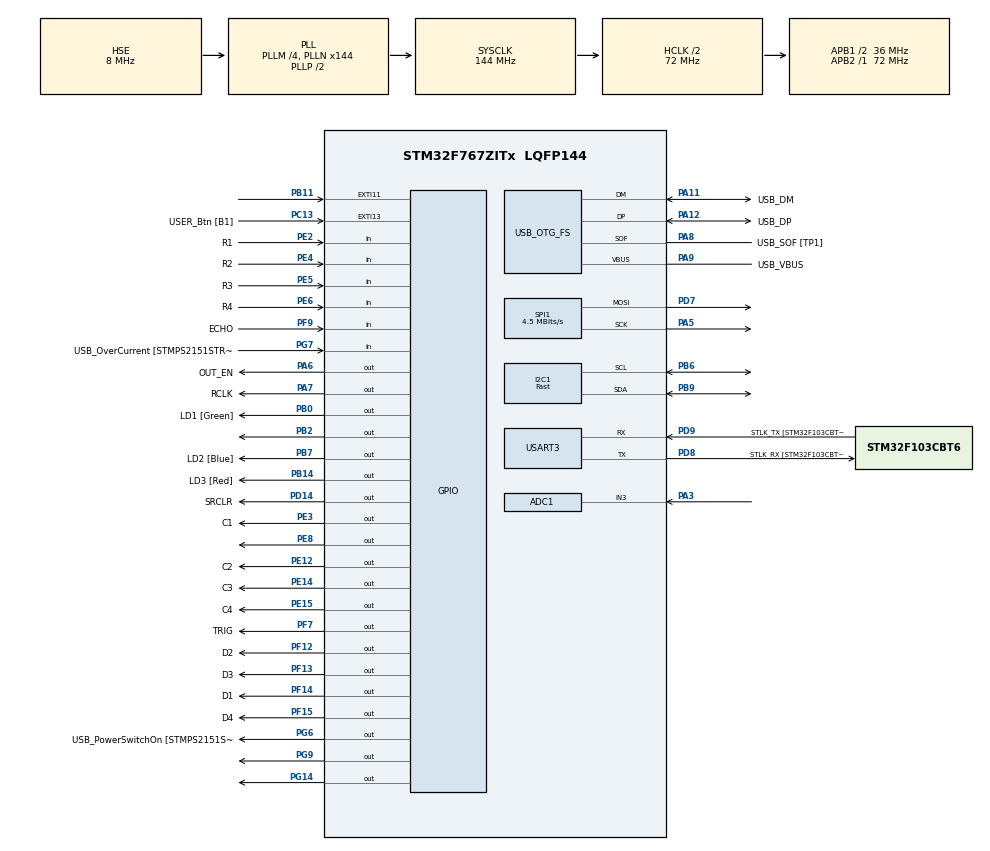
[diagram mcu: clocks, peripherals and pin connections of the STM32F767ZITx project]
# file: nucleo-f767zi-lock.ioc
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ADC1.Channel-1\#ChannelRegularConversion=ADC_CHANNEL_3
ADC1.ContinuousConvMode=ENABLE
ADC1.NbrOfConversionFlag=1
ADC1.Rank-1\#ChannelRegularConversion=1
ADC1.SamplingTime-1\#ChannelRegularConversion=ADC_SAMPLETIME_3CYCLES
ADC1.master=1
I2C1.I2C_Speed_Mode=I2C_Fast
I2C1.Timing=0x00301739
Mcu.Family=STM32F7
Mcu.Name=STM32F767ZITx
Mcu.Package=LQFP144
NVIC.EXTI15_10_IRQn=true\:0\:0\:false\:false\:true\:true\:true\:true
NVIC.PriorityGroup=NVIC_PRIORITYGROUP_4
PA1.GPIO_Label=RMII_REF_CLK [LAN8742A-CZ-TR_REFCLK0]
PA1.Signal=ETH_REF_CLK
PA10.GPIO_Label=USB_ID
PA10.Signal=USB_OTG_FS_ID
PA11.GPIO_Label=USB_DM
PA11.Mode=Device_Only
PA11.Signal=USB_OTG_FS_DM
PA12.GPIO_Label=USB_DP
PA12.Mode=Device_Only
PA12.Signal=USB_OTG_FS_DP
PA13.GPIO_Label=TMS
PA13.Mode=Serial_Wire
PA13.Signal=SYS_JTMS-SWDIO
PA14.GPIO_Label=TCK
PA14.Mode=Serial_Wire
PA14.Signal=SYS_JTCK-SWCLK
PA2.GPIO_Label=RMII_MDIO [LAN8742A-CZ-TR_MDIO]
PA2.Signal=ETH_MDIO
PA3.Signal=ADCx_IN3
PA5.Mode=TX_Only_Simplex_Unidirect_Master
PA5.Signal=SPI1_SCK
PA6.GPIO_Label=OUT_EN
PA6.Signal=GPIO_Output
PA7.GPIO_Label=RCLK
PA7.Signal=GPIO_Output
PA8.GPIO_Label=USB_SOF [TP1]
PA8.Mode=Activate_SOF_FS
PA8.Signal=USB_OTG_FS_SOF
PA9.GPIO_Label=USB_VBUS
PA9.Mode=Activate_VBUS
PA9.Signal=USB_OTG_FS_VBUS
PB0.GPIO_Label=LD1 [Green]
PB0.Signal=GPIO_Output
PB11.GPIO_ModeDefaultEXTI=GPIO_MODE_IT_FALLING
PB11.Signal=GPXTI11
PB13.GPIO_Label=RMII_TXD1 [LAN8742A-CZ-TR_TXD1]
PB13.Signal=ETH_TXD1
PB14.GPIO_Label=LD3 [Red]
PB14.Signal=GPIO_Output
PB2.Signal=GPIO_Output
PB3.GPIO_Label=SWO
PB3.Signal=SYS_JTDO-SWO
PB6.Mode=I2C
PB6.Signal=I2C1_SCL
PB7.GPIO_Label=LD2 [Blue]
PB7.Signal=GPIO_Output
PB9.Mode=I2C
PB9.Signal=I2C1_SDA
PC1.GPIO_Label=RMII_MDC [LAN8742A-CZ-TR_MDC]
PC1.Signal=ETH_MDC
PC13.GPIO_Label=USER_Btn [B1]
PC13.Signal=GPXTI13
PC14/OSC32_IN.Signal=RCC_OSC32_IN
PC15/OSC32_OUT.Signal=RCC_OSC32_OUT
PC5.GPIO_Label=RMII_RXD1 [LAN8742A-CZ-TR_RXD1]
PC5.Signal=ETH_RXD1
PD14.GPIO_Label=SRCLR
PD14.PinState=GPIO_PIN_RESET
PD14.Signal=GPIO_Output
PD7.Mode=TX_Only_Simplex_Unidirect_Master
PD7.Signal=SPI1_MOSI
PD8.GPIO_Label=STLK_RX [STM32F103CBT6_PA3]
PD8.Mode=Asynchronous
PD8.Signal=USART3_TX
PD9.GPIO_Label=STLK_TX [STM32F103CBT6_PA2]
PD9.Mode=Asynchronous
PD9.Signal=USART3_RX
PE12.GPIO_Label=C2
PE12.PinState=GPIO_PIN_SET
PE12.Signal=GPIO_Output
PE14.GPIO_Label=C3
PE14.PinState=GPIO_PIN_SET
PE14.Signal=GPIO_Output
PE15.GPIO_Label=C4
PE15.GPIO_ModeDefaultOutputPP=GPIO_MODE_OUTPUT_PP
PE15.GPIO_PuPd=GPIO_NOPULL
PE15.Signal=GPIO_Output
PE2.GPIO_Label=R1
PE2.GPIO_PuPd=GPIO_PULLDOWN
PE2.Signal=GPIO_Input
PE3.GPIO_Label=C1
PE3.PinState=GPIO_PIN_SET
PE3.Signal=GPIO_Output
PE4.GPIO_Label=R2
PE4.GPIO_PuPd=GPIO_PULLDOWN
PE4.Signal=GPIO_Input
PE5.GPIO_Label=R3
PE5.GPIO_PuPd=GPIO_PULLDOWN
PE5.Signal=GPIO_Input
PE6.GPIO_Label=R4
PE6.GPIO_PuPd=GPIO_PULLDOWN
PE6.Signal=GPIO_Input
PE8.Signal=GPIO_Output
PF12.GPIO_Label=D2
PF12.GPIO_ModeDefaultOutputPP=GPIO_MODE_OUTPUT_OD
PF12.GPIO_PuPd=GPIO_NOPULL
PF12.PinState=GPIO_PIN_SET
PF12.Signal=GPIO_Output
PF13.GPIO_Label=D3
PF13.GPIO_ModeDefaultOutputPP=GPIO_MODE_OUTPUT_OD
PF13.GPIO_PuPd=GPIO_NOPULL
PF13.PinState=GPIO_PIN_SET
PF13.Signal=GPIO_Output
PF14.GPIO_Label=D1
PF14.GPIO_ModeDefaultOutputPP=GPIO_MODE_OUTPUT_OD
PF14.GPIO_PuPd=GPIO_NOPULL
PF14.PinState=GPIO_PIN_SET
PF14.Signal=GPIO_Output
PF15.GPIO_Label=D4
PF15.GPIO_ModeDefaultOutputPP=GPIO_MODE_OUTPUT_OD
PF15.GPIO_PuPd=GPIO_NOPULL
PF15.PinState=GPIO_PIN_SET
PF15.Signal=GPIO_Output
PF7.GPIO_Label=TRIG
PF7.GPIO_PuPd=GPIO_NOPULL
PF7.Signal=GPIO_Output
PF9.GPIO_Label=ECHO
PF9.GPIO_PuPd=GPIO_NOPULL
PF9.Signal=GPIO_Input
PG11.GPIO_Label=RMII_TX_EN [LAN8742A-CZ-TR_TXEN]
PG11.Signal=ETH_TX_EN
PG13.GPIO_Label=RMII_TXD0 [LAN8742A-CZ-TR_TXD0]
PG13.Signal=ETH_TXD0
PG14.Signal=GPIO_Output
PG6.GPIO_Label=USB_PowerSwitchOn [STMPS2151STR_EN]
PG6.Signal=GPIO_Output
PG7.GPIO_Label=USB_OverCurrent [STMPS2151STR_FAULT]
PG7.Signal=GPIO_Input
PG9.Signal=GPIO_Output
PH0/OSC_IN.GPIO_Label=MCO [STM32F103CBT6_PA8]
PH0/OSC_IN.Mode=HSE-External-Oscillator
PH0/OSC_IN.Signal=RCC_OSC_IN
PH1/OSC_OUT.Mode=HSE-External-Oscillator
PH1/OSC_OUT.Signal=RCC_OSC_OUT
ProjectManager.HeapSize=0x200
ProjectManager.StackSize=0x400
ProjectManager.TargetToolchain=STM32CubeIDE
RCC.48MHZClocksFreq_Value=24000000
RCC.AHBCLKDivider=RCC_SYSCLK_DIV2
RCC.AHBFreq_Value=72000000
RCC.APB1CLKDivider=RCC_HCLK_DIV2
RCC.APB1Freq_Value=36000000
RCC.APB1TimFreq_Value=72000000
RCC.APB2Freq_Value=72000000
RCC.APB2TimFreq_Value=72000000
RCC.CortexFreq_Value=72000000
RCC.HCLKFreq_Value=72000000
RCC.HSE_VALUE=8000000
RCC.HSI_VALUE=16000000
RCC.LSE_VALUE=32768
RCC.PLLM=4
RCC.PLLMUL=RCC_PLL_MUL9
RCC.PLLN=144
RCC.PLLQ=6
RCC.PRESCALERUSB=RCC_USBCLKSOURCE_PLL_DIV1_5
RCC.SYSCLKFreq_VALUE=144000000
RCC.SYSCLKSource=RCC_SYSCLKSOURCE_PLLCLK
RCC.SYSCLKSourceVirtual=RCC_SYSCLKSOURCE_PLLCLK
RCC.USBFreq_Value=48000000
RCC.VCOOutputFreq_Value=288000000
SH.ADCx_IN3.0=ADC1_IN3,IN3
SPI1.BaudRatePrescaler=SPI_BAUDRATEPRESCALER_16
SPI1.CalculateBaudRate=4.5 MBits/s
SPI1.DataSize=SPI_DATASIZE_8BIT
SPI1.Direction=SPI_DIRECTION_2LINES
SPI1.FirstBit=SPI_FIRSTBIT_MSB
SPI1.Mode=SPI_MODE_MASTER
SPI1.VirtualType=VM_MASTER
TIM1.Prescaler=71
USART3.VirtualMode-Asynchronous=VM_ASYNC
USB_OTG_FS.VirtualMode=Device_Only
VP_TIM1_VS_ClockSourceINT.Mode=Internal
board=NUCLEO-F767ZI

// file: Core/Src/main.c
/* USER CODE BEGIN Header */
/**
  ******************************************************************************
  * @file           : main.c
  * @brief          : Main program body
  ******************************************************************************
  * @attention
  *
  * Copyright (c) 2022 STMicroelectronics.
  * All rights reserved.
  *
  * This software is licensed under terms that can be found in the LICENSE file
  * in the root directory of this software component.
  * If no LICENSE file comes with this software, it is provided AS-IS.
  *
  ******************************************************************************
  */
/* USER CODE END Header */
#include "main.h"

/* USER CODE BEGIN Includes */
#include "math.h"
/* USER CODE END Includes */

ADC_HandleTypeDef hadc1;

I2C_HandleTypeDef hi2c1;

SPI_HandleTypeDef hspi1;

TIM_HandleTypeDef htim1;

UART_HandleTypeDef huart3;

PCD_HandleTypeDef hpcd_USB_OTG_FS;

/* USER CODE BEGIN PV */
uint32_t pMillis;
uint32_t Value1 = 0;
uint32_t Value2 = 0;
uint16_t Distance  = 0;
/* USER CODE END PV */

void SystemClock_Config(void);
static void MX_GPIO_Init(void);
static void MX_USART3_UART_Init(void);
static void MX_USB_OTG_FS_PCD_Init(void);
static void MX_SPI1_Init(void);
static void MX_ADC1_Init(void);
static void MX_I2C1_Init(void);
static void MX_TIM1_Init(void);

/* USER CODE BEGIN 0 */
	typedef enum
	{
		Idle_State,
		Key_Press_State,
		Check_Password_State,
		Incorrect_Password_State,
		Correct_Password_State,
		Sound_Alarm_State
	} eSystemState;

	//uint8_t SPIdata[] = {0xf6,0x12,0xea,0xba,0x1e,0xbc,0xfc,0x92,0xfe,0xbe};
	//depends on 74hc595 connection
	// Q7 =B, Q6 = A, Q5 = G, Q4 = C, Q3 = DP, Q2 = D, Q1 = E, Q0 = F
	uint8_t SPIdata[] ={0xd7,	// 0 = a,b,c,d,e,f		1101 0111
						0x90,	// 1 = b,c				1001 0000
						0xe6,	// 2 = a,b,d,e,g		1110 0110
						0xf4,	// 3 = a,b,c,d,g		1111 0100
						0xb1,	// 4 = b,c,f,g			1011 0001
						0x75,	// 5 = a,c,d,f,g		0111 0101
						0x77,	// 6 = a,c,d,e,f,g		0111 0111
						0xd0,	// 7 = a,b,c			1101 0000
						0xf7,	// 8 = a,b,c,d,e,f,g	1111 0111
						0xf1};	// 9 = a,b,c,f,g		1111 0001
	uint8_t letters[] = {0xf3, // a 0
						0x37, // b 1
						0x47, // c 2
						0xb6, // d 3
						0x97, // u 4
						0x67, // e
						0x63, // f
						0x57, // g
						0xb3, // h
						0x03, // i
						0x94, // j
						0x07, // l
						0xd3, // n
						0xd7, // o
						0xe3, // p
						0xf1, // q
						0x43, // r
						0x55, // s

						0x16, // v
						0xb5, // y
						0xc6, // z

	};
	int password = 1234;
	int numPress = 0;
	int buffer = 0;

	int armed = 0; // if 0 false. true = 1

	void sendSPIdata(uint8_t data[], uint8_t byteSize)
	{
		//clear the buffer
		HAL_GPIO_WritePin(GPIOD, GPIO_PIN_14, GPIO_PIN_RESET); //MASTER RECLEAR, ACTIVE LOW - PIN 10

		//Disable the Outputs
		HAL_GPIO_WritePin(GPIOA , GPIO_PIN_6, GPIO_PIN_SET);		//OUT_EN, ACTIVE LOW - PIN 13

		//Open the Buffer for Transmission
		HAL_GPIO_WritePin(GPIOD, GPIO_PIN_14, GPIO_PIN_SET); //MASTER RECLEAR, ACTIVE LOW - PIN 10

		//transmit data
		HAL_SPI_Transmit(&hspi1, &data[0], byteSize, 10); //byteSize = 1

		//Trigger Registers
		HAL_GPIO_WritePin(GPIOA, GPIO_PIN_7, GPIO_PIN_SET); //register clk - pin 11
		//HAL_Delay(10);
		HAL_GPIO_WritePin(GPIOA, GPIO_PIN_7, GPIO_PIN_RESET);

		//Enable the Outputs
		HAL_GPIO_WritePin(GPIOA , GPIO_PIN_6 , GPIO_PIN_RESET); //OUT_EN, ACTIVE LOW - PIN 13
	}
	int displayDigit(int num){
		uint16_t cathode[4] = {0x8000,0x2000,0x1000,0x4000}; // (Pin 15)(Pin 13)(Pin 12)(Pin 14)
		int d[4];			// array that will sort one digit in each index
		int count =0;		// how many digits num contains

		if(num == 0){
			d[count] = 0;
			count = 1;
		}
		//it will sort one digit in each index
		else{
			while(num != 0){
				d[count] = num%10;
				count++;
				num=num/10;
			}
		}

		// display up to four digits on the 4-digit 7-seg display
		for(int i = 0; i < count; i++){
			HAL_GPIO_WritePin(GPIOF, cathode[i], GPIO_PIN_RESET); 	// resets one cathode to GND
			sendSPIdata(&SPIdata[d[i]], 1);							// send data to the register
			HAL_Delay(4);											// it shows that number for 4 ms
			HAL_GPIO_WritePin(GPIOF, cathode[i], GPIO_PIN_SET);		// sets the cathode
		}
		return count;
	}
	int displayLetters(int num){
			uint16_t cathode[4] = {0x8000,0x2000,0x1000,0x4000}; // (Pin 15)(Pin 13)(Pin 12)(Pin 14)
			int d[4];			// array that will sort one digit in each index
			int count =0;		// how many digits num contains

			if(num == 0){
				d[count] = 0;
				count = 1;
			}
			//it will sort one digit in each index
			else{
				while(num != 0){
					d[count] = num%10;
					count++;
					num=num/10;
				}
			}

			// display up to four digits on the 4-digit 7-seg display
			for(int i = 0; i < count; i++){
				HAL_GPIO_WritePin(GPIOF, cathode[i], GPIO_PIN_RESET); 	// resets one cathode to GND
				sendSPIdata(&letters[d[i]], 1);							// send data to the register
				HAL_Delay(4);											// it shows that number for 4 ms
				HAL_GPIO_WritePin(GPIOF, cathode[i], GPIO_PIN_SET);		// sets the cathode
			}
			return count;
		}
	void displayPassword(int num, int press){
		uint16_t cathode[4] = {0x8000,0x2000,0x1000,0x4000};
		int count = displayDigit(num);				// count = 3

		for(int i = 0; i < press; i++){
			if(count - 1 < i){
				HAL_GPIO_WritePin(GPIOF, cathode[i], GPIO_PIN_RESET);
				sendSPIdata(&SPIdata[0], 1);
				HAL_Delay(4);
				HAL_GPIO_WritePin(GPIOF, cathode[i], GPIO_PIN_SET);
			}
		}

	}
	int checkColumn(uint16_t pinVar){
			int num;
			HAL_GPIO_WritePin(GPIOE, C1_Pin|C2_Pin|C3_Pin|C4_Pin, GPIO_PIN_RESET);

			HAL_GPIO_WritePin(GPIOE,C1_Pin,GPIO_PIN_SET);
			if(HAL_GPIO_ReadPin(GPIOE,pinVar) == 1)
				num = 1;

			HAL_GPIO_WritePin(GPIOE,C1_Pin,GPIO_PIN_RESET);
			HAL_GPIO_WritePin(GPIOE,C2_Pin,GPIO_PIN_SET);
			if(HAL_GPIO_ReadPin(GPIOE,pinVar) == 1)
				num = 2;

			HAL_GPIO_WritePin(GPIOE,C2_Pin,GPIO_PIN_RESET);
			HAL_GPIO_WritePin(GPIOE,C3_Pin,GPIO_PIN_SET);
			if(HAL_GPIO_ReadPin(GPIOE,pinVar) == 1)
				num = 3;

			HAL_GPIO_WritePin(GPIOE,C3_Pin,GPIO_PIN_RESET);
			HAL_GPIO_WritePin(GPIOE,C4_Pin,GPIO_PIN_SET);
			if(HAL_GPIO_ReadPin(GPIOE,pinVar) == 1)
				num = 4;
			HAL_GPIO_WritePin(GPIOE, C1_Pin|C2_Pin|C3_Pin|C4_Pin, GPIO_PIN_SET);
			return num;
		}
	int keyPress(void){
		int columnVar;
		int keyArr[] = {1,2,3,11,4,5,6,12,7,8,9,13,16,0,15,14}; //0-9 = 0-9, A-D = 11-14, #-* = 15-16

		if(HAL_GPIO_ReadPin(GPIOE, GPIO_PIN_2) == 1){		// row 1
			columnVar = checkColumn(GPIO_PIN_2);
			return keyArr[columnVar - 1];
		}
		else if(HAL_GPIO_ReadPin(GPIOE, R2_Pin) == 1){		// row 2
			columnVar = checkColumn(R2_Pin);
			return keyArr[columnVar +3];
		}
		else if(HAL_GPIO_ReadPin(GPIOE, R3_Pin) == 1){		// row 3
			columnVar = checkColumn(R3_Pin);
			return keyArr[columnVar +7];
		}
		else if(HAL_GPIO_ReadPin(GPIOE, R4_Pin) == 1){		// row 4
			columnVar = checkColumn(R4_Pin);
			return keyArr[columnVar +11];
		}
		return -1;
	}

	uint16_t getDistance(){
		HAL_TIM_Base_Start(&htim1);
		HAL_GPIO_WritePin(GPIOF, GPIO_PIN_7, GPIO_PIN_RESET);
		HAL_GPIO_WritePin(GPIOF, GPIO_PIN_7, GPIO_PIN_SET);  // pull the TRIG pin HIGH
			  	     __HAL_TIM_SET_COUNTER(&htim1, 0);
			  	     while (__HAL_TIM_GET_COUNTER (&htim1) < 10);  // wait for 10 us
			  	     HAL_GPIO_WritePin(GPIOF, GPIO_PIN_7, GPIO_PIN_RESET);  // pull the TRIG pin low

			  	     pMillis = HAL_GetTick(); // used this to avoid infinite while loop  (for timeout)
			  	     // wait for the echo pin to go high
			  	     while (!(HAL_GPIO_ReadPin (GPIOF, GPIO_PIN_9)) && pMillis + 10 >  HAL_GetTick());
			  	     Value1 = __HAL_TIM_GET_COUNTER (&htim1);

			  	     pMillis = HAL_GetTick(); // used this to avoid infinite while loop (for timeout)
			  	     // wait for the echo pin to go low
			  	     while ((HAL_GPIO_ReadPin (GPIOF, GPIO_PIN_9)) && pMillis + 50 > HAL_GetTick());
			  	     Value2 = __HAL_TIM_GET_COUNTER (&htim1);

			  	     Distance = (Value2-Value1)* 0.034/2;
			  	     return Distance;
	}
/*Prototype Event Handlers*/
	eSystemState IdleStateHandler(void){
		if(armed == 1){
			HAL_GPIO_WritePin(GPIOG, GPIO_PIN_14, 1);
		}
		else{
			HAL_GPIO_WritePin(GPIOG, GPIO_PIN_14, 0);
		}
		if(numPress > 0)
			displayPassword(buffer,numPress);
		//HAL_GPIO_WritePin(GPIOE, GPIO_PIN_8, 1);
		// displayLetters(3422);
		if(keyPress() != -1)
			return Key_Press_State;
			//return Idle_State;
		if(armed == 1){
			if(getDistance() < 30){
				return Sound_Alarm_State;
			}
		}
		//return Key_Press_State;
		return Idle_State;
	}
	eSystemState KeyPressHandler(void){ 		// 0-9 = 0-9, A-D = 11-14, #-* = 15-16
		int num = keyPress();
		switch (num){

		case 11:								// 11 = A, This is enter
			HAL_Delay(500);
			return Check_Password_State;

		case 12:								// 12 = B, This is backspace
				if(numPress > 0){
					buffer = buffer / 10;
					numPress--;
				}
				HAL_Delay(500);
				return Idle_State;

		case 13:								// 13 = C, This is clear
			buffer = 0;
			numPress = 0;
			HAL_Delay(500);
			return Idle_State;

		default:								// 0 - 9 was pressed
			if(numPress < 4 && num < 10){
				buffer = buffer * 10 + num;
				numPress++;
			}
			HAL_Delay(500);
			return Idle_State;
		}
	}
	eSystemState CheckPasswordHandler(void){
		if(buffer == password)
			return Correct_Password_State;
		return Incorrect_Password_State;
	}
	eSystemState IncorrectPasswordHandler(void){
		buffer = 0;
		numPress = 0;
		//TODO
		/*
		 HAl
		 * DELAY .5 SEC
		 * TURN OFF RED LED
		 *
		 * TURN ON RED LED
		 * DELAY .5 SEC
		 * TURN OFF RED LED
		 *
		 * TURN ON RED LED
		 * DELAY .5 SEC
		 * TURN OFF RED LED
		 *
		 */
		HAL_GPIO_WritePin(GPIOG, GPIO_PIN_9, 1);
		HAL_Delay(500);
		HAL_GPIO_WritePin(GPIOG, GPIO_PIN_9, 0);

		return Idle_State;
	}
	eSystemState CorrectPasswordHandler(void){
		buffer = 0;
		numPress = 0;
		HAL_GPIO_WritePin(GPIOE, GPIO_PIN_8, 0);
		if(armed == 1)
			armed = 0;
		else
			armed = 1;
		return Idle_State;
	}
	eSystemState SoundAlarmHandler(void){
		HAL_GPIO_WritePin(GPIOE, GPIO_PIN_8, 1);
		return Idle_State;
	}

/* USER CODE END 0 */

int main(void)
{

  /* MCU Configuration--------------------------------------------------------*/

  /* Reset of all peripherals, Initializes the Flash interface and the Systick. */
  HAL_Init();

  /* Configure the system clock */
  SystemClock_Config();

  /* Initialize all configured peripherals */
  MX_GPIO_Init();
  MX_USART3_UART_Init();
  MX_USB_OTG_FS_PCD_Init();
  MX_SPI1_Init();
  MX_ADC1_Init();
  MX_I2C1_Init();
  MX_TIM1_Init();
  /* USER CODE BEGIN 2 */
  eSystemState eNextState = Idle_State;
  // sendSPIdata(&SPIdata[8], 1);

  /*
	  switch(eNextState){
	  case Idle_State:
		  eNextState = IdleStateHandler();
		  break;
	  case Key_Press_State:
		  eNextState = KeyPressHandler();
		  break;
	  case Check_Password_State:
		  eNextState = CheckPasswordHandler();
		  break;
	  case Incorrect_Password_State:
		  eNextState = IncorrectPasswordHandler();
		  break;
	  case Correct_Password_State:
		  eNextState = CorrectPasswordHandler();
		  break;
	  }
	  displayDigit(getDistance());

   */
  	HAL_TIM_Base_Start(&htim1);
  	while(HAL_GetTick() < 4000){
  		displayLetters(3422);
  	}
    //HAL_GPIO_WritePin(GPIOF, GPIO_PIN_7, GPIO_PIN_RESET);

  /* USER CODE END 2 */

  /* Infinite loop */
  while (1)
  {
	  switch(eNextState){
	  	  case Idle_State:
	  		  eNextState = IdleStateHandler();
	  		  break;
	  	  case Key_Press_State:
	  		  eNextState = KeyPressHandler();
	  		  break;
	  	  case Check_Password_State:
	  		  eNextState = CheckPasswordHandler();
	  		  break;
	  	  case Incorrect_Password_State:
	  		  eNextState = IncorrectPasswordHandler();
	  		  break;
	  	  case Correct_Password_State:
	  		  eNextState = CorrectPasswordHandler();
	  		  break;
	  	  case Sound_Alarm_State:
	  		  eNextState = SoundAlarmHandler();
	  		  break;
	  	  }
  }
}

void SystemClock_Config(void)
{
  RCC_OscInitTypeDef RCC_OscInitStruct = {0};
  RCC_ClkInitTypeDef RCC_ClkInitStruct = {0};

  /** Configure the main internal regulator output voltage
  */
  __HAL_RCC_PWR_CLK_ENABLE();
  __HAL_PWR_VOLTAGESCALING_CONFIG(PWR_REGULATOR_VOLTAGE_SCALE3);

  /** Initializes the RCC Oscillators according to the specified parameters
  * in the RCC_OscInitTypeDef structure.
  */
  RCC_OscInitStruct.OscillatorType = RCC_OSCILLATORTYPE_HSE;
  RCC_OscInitStruct.HSEState = RCC_HSE_ON;
  RCC_OscInitStruct.PLL.PLLState = RCC_PLL_ON;
  RCC_OscInitStruct.PLL.PLLSource = RCC_PLLSOURCE_HSE;
  RCC_OscInitStruct.PLL.PLLM = 4;
  RCC_OscInitStruct.PLL.PLLN = 144;
  RCC_OscInitStruct.PLL.PLLP = RCC_PLLP_DIV2;
  RCC_OscInitStruct.PLL.PLLQ = 6;
  RCC_OscInitStruct.PLL.PLLR = 2;
  if (HAL_RCC_OscConfig(&RCC_OscInitStruct) != HAL_OK)
  {
    Error_Handler();
  }

  /** Initializes the CPU, AHB and APB buses clocks
  */
  RCC_ClkInitStruct.ClockType = RCC_CLOCKTYPE_HCLK|RCC_CLOCKTYPE_SYSCLK
                              |RCC_CLOCKTYPE_PCLK1|RCC_CLOCKTYPE_PCLK2;
  RCC_ClkInitStruct.SYSCLKSource = RCC_SYSCLKSOURCE_PLLCLK;
  RCC_ClkInitStruct.AHBCLKDivider = RCC_SYSCLK_DIV2;
  RCC_ClkInitStruct.APB1CLKDivider = RCC_HCLK_DIV2;
  RCC_ClkInitStruct.APB2CLKDivider = RCC_HCLK_DIV1;

  if (HAL_RCC_ClockConfig(&RCC_ClkInitStruct, FLASH_LATENCY_2) != HAL_OK)
  {
    Error_Handler();
  }
}

static void MX_ADC1_Init(void)
{

  ADC_ChannelConfTypeDef sConfig = {0};

  /** Configure the global features of the ADC (Clock, Resolution, Data Alignment and number of conversion)
  */
  hadc1.Instance = ADC1;
  hadc1.Init.ClockPrescaler = ADC_CLOCK_SYNC_PCLK_DIV2;
  hadc1.Init.Resolution = ADC_RESOLUTION_12B;
  hadc1.Init.ScanConvMode = ADC_SCAN_DISABLE;
  hadc1.Init.ContinuousConvMode = ENABLE;
  hadc1.Init.DiscontinuousConvMode = DISABLE;
  hadc1.Init.ExternalTrigConvEdge = ADC_EXTERNALTRIGCONVEDGE_NONE;
  hadc1.Init.ExternalTrigConv = ADC_SOFTWARE_START;
  hadc1.Init.DataAlign = ADC_DATAALIGN_RIGHT;
  hadc1.Init.NbrOfConversion = 1;
  hadc1.Init.DMAContinuousRequests = DISABLE;
  hadc1.Init.EOCSelection = ADC_EOC_SINGLE_CONV;
  if (HAL_ADC_Init(&hadc1) != HAL_OK)
  {
    Error_Handler();
  }

  /** Configure for the selected ADC regular channel its corresponding rank in the sequencer and its sample time.
  */
  sConfig.Channel = ADC_CHANNEL_3;
  sConfig.Rank = ADC_REGULAR_RANK_1;
  sConfig.SamplingTime = ADC_SAMPLETIME_3CYCLES;
  if (HAL_ADC_ConfigChannel(&hadc1, &sConfig) != HAL_OK)
  {
    Error_Handler();
  }

}

static void MX_I2C1_Init(void)
{

  hi2c1.Instance = I2C1;
  hi2c1.Init.Timing = 0x00301739;
  hi2c1.Init.OwnAddress1 = 0;
  hi2c1.Init.AddressingMode = I2C_ADDRESSINGMODE_7BIT;
  hi2c1.Init.DualAddressMode = I2C_DUALADDRESS_DISABLE;
  hi2c1.Init.OwnAddress2 = 0;
  hi2c1.Init.OwnAddress2Masks = I2C_OA2_NOMASK;
  hi2c1.Init.GeneralCallMode = I2C_GENERALCALL_DISABLE;
  hi2c1.Init.NoStretchMode = I2C_NOSTRETCH_DISABLE;
  if (HAL_I2C_Init(&hi2c1) != HAL_OK)
  {
    Error_Handler();
  }

  /** Configure Analogue filter
  */
  if (HAL_I2CEx_ConfigAnalogFilter(&hi2c1, I2C_ANALOGFILTER_ENABLE) != HAL_OK)
  {
    Error_Handler();
  }

  /** Configure Digital filter
  */
  if (HAL_I2CEx_ConfigDigitalFilter(&hi2c1, 0) != HAL_OK)
  {
    Error_Handler();
  }

}

static void MX_SPI1_Init(void)
{

  /* SPI1 parameter configuration*/
  hspi1.Instance = SPI1;
  hspi1.Init.Mode = SPI_MODE_MASTER;
  hspi1.Init.Direction = SPI_DIRECTION_2LINES;
  hspi1.Init.DataSize = SPI_DATASIZE_8BIT;
  hspi1.Init.CLKPolarity = SPI_POLARITY_LOW;
  hspi1.Init.CLKPhase = SPI_PHASE_1EDGE;
  hspi1.Init.NSS = SPI_NSS_SOFT;
  hspi1.Init.BaudRatePrescaler = SPI_BAUDRATEPRESCALER_16;
  hspi1.Init.FirstBit = SPI_FIRSTBIT_MSB;
  hspi1.Init.TIMode = SPI_TIMODE_DISABLE;
  hspi1.Init.CRCCalculation = SPI_CRCCALCULATION_DISABLE;
  hspi1.Init.CRCPolynomial = 7;
  hspi1.Init.CRCLength = SPI_CRC_LENGTH_DATASIZE;
  hspi1.Init.NSSPMode = SPI_NSS_PULSE_ENABLE;
  if (HAL_SPI_Init(&hspi1) != HAL_OK)
  {
    Error_Handler();
  }

}

static void MX_TIM1_Init(void)
{

  TIM_ClockConfigTypeDef sClockSourceConfig = {0};
  TIM_MasterConfigTypeDef sMasterConfig = {0};

  htim1.Instance = TIM1;
  htim1.Init.Prescaler = 71;
  htim1.Init.CounterMode = TIM_COUNTERMODE_UP;
  htim1.Init.Period = 65535;
  htim1.Init.ClockDivision = TIM_CLOCKDIVISION_DIV1;
  htim1.Init.RepetitionCounter = 0;
  htim1.Init.AutoReloadPreload = TIM_AUTORELOAD_PRELOAD_DISABLE;
  if (HAL_TIM_Base_Init(&htim1) != HAL_OK)
  {
    Error_Handler();
  }
  sClockSourceConfig.ClockSource = TIM_CLOCKSOURCE_INTERNAL;
  if (HAL_TIM_ConfigClockSource(&htim1, &sClockSourceConfig) != HAL_OK)
  {
    Error_Handler();
  }
  sMasterConfig.MasterOutputTrigger = TIM_TRGO_RESET;
  sMasterConfig.MasterOutputTrigger2 = TIM_TRGO2_RESET;
  sMasterConfig.MasterSlaveMode = TIM_MASTERSLAVEMODE_DISABLE;
  if (HAL_TIMEx_MasterConfigSynchronization(&htim1, &sMasterConfig) != HAL_OK)
  {
    Error_Handler();
  }

}

static void MX_USART3_UART_Init(void)
{

  huart3.Instance = USART3;
  huart3.Init.BaudRate = 115200;
  huart3.Init.WordLength = UART_WORDLENGTH_8B;
  huart3.Init.StopBits = UART_STOPBITS_1;
  huart3.Init.Parity = UART_PARITY_NONE;
  huart3.Init.Mode = UART_MODE_TX_RX;
  huart3.Init.HwFlowCtl = UART_HWCONTROL_NONE;
  huart3.Init.OverSampling = UART_OVERSAMPLING_16;
  huart3.Init.OneBitSampling = UART_ONE_BIT_SAMPLE_DISABLE;
  huart3.AdvancedInit.AdvFeatureInit = UART_ADVFEATURE_NO_INIT;
  if (HAL_UART_Init(&huart3) != HAL_OK)
  {
    Error_Handler();
  }

}

static void MX_USB_OTG_FS_PCD_Init(void)
{

  hpcd_USB_OTG_FS.Instance = USB_OTG_FS;
  hpcd_USB_OTG_FS.Init.dev_endpoints = 6;
  hpcd_USB_OTG_FS.Init.speed = PCD_SPEED_FULL;
  hpcd_USB_OTG_FS.Init.dma_enable = DISABLE;
  hpcd_USB_OTG_FS.Init.phy_itface = PCD_PHY_EMBEDDED;
  hpcd_USB_OTG_FS.Init.Sof_enable = ENABLE;
  hpcd_USB_OTG_FS.Init.low_power_enable = DISABLE;
  hpcd_USB_OTG_FS.Init.lpm_enable = DISABLE;
  hpcd_USB_OTG_FS.Init.vbus_sensing_enable = ENABLE;
  hpcd_USB_OTG_FS.Init.use_dedicated_ep1 = DISABLE;
  if (HAL_PCD_Init(&hpcd_USB_OTG_FS) != HAL_OK)
  {
    Error_Handler();
  }

}

static void MX_GPIO_Init(void)
{
  GPIO_InitTypeDef GPIO_InitStruct = {0};

  /* GPIO Ports Clock Enable */
  __HAL_RCC_GPIOE_CLK_ENABLE();
  __HAL_RCC_GPIOC_CLK_ENABLE();
  __HAL_RCC_GPIOF_CLK_ENABLE();
  __HAL_RCC_GPIOH_CLK_ENABLE();
  __HAL_RCC_GPIOA_CLK_ENABLE();
  __HAL_RCC_GPIOB_CLK_ENABLE();
  __HAL_RCC_GPIOD_CLK_ENABLE();
  __HAL_RCC_GPIOG_CLK_ENABLE();

  /*Configure GPIO pin Output Level */
  HAL_GPIO_WritePin(GPIOE, C1_Pin|C2_Pin|C3_Pin, GPIO_PIN_SET);

  /*Configure GPIO pin Output Level */
  HAL_GPIO_WritePin(TRIG_GPIO_Port, TRIG_Pin, GPIO_PIN_RESET);

  /*Configure GPIO pin Output Level */
  HAL_GPIO_WritePin(GPIOA, OUT_EN_Pin|RCLK_Pin, GPIO_PIN_RESET);

  /*Configure GPIO pin Output Level */
  HAL_GPIO_WritePin(GPIOB, LD1_Pin|GPIO_PIN_2|LD3_Pin|LD2_Pin, GPIO_PIN_RESET);

  /*Configure GPIO pin Output Level */
  HAL_GPIO_WritePin(GPIOF, D2_Pin|D3_Pin|D1_Pin|D4_Pin, GPIO_PIN_SET);

  /*Configure GPIO pin Output Level */
  HAL_GPIO_WritePin(GPIOE, GPIO_PIN_8|C4_Pin, GPIO_PIN_RESET);

  /*Configure GPIO pin Output Level */
  HAL_GPIO_WritePin(SRCLR_GPIO_Port, SRCLR_Pin, GPIO_PIN_RESET);

  /*Configure GPIO pin Output Level */
  HAL_GPIO_WritePin(GPIOG, USB_PowerSwitchOn_Pin|GPIO_PIN_9|GPIO_PIN_14, GPIO_PIN_RESET);

  /*Configure GPIO pins : R1_Pin R2_Pin R3_Pin R4_Pin */
  GPIO_InitStruct.Pin = R1_Pin|R2_Pin|R3_Pin|R4_Pin;
  GPIO_InitStruct.Mode = GPIO_MODE_INPUT;
  GPIO_InitStruct.Pull = GPIO_PULLDOWN;
  HAL_GPIO_Init(GPIOE, &GPIO_InitStruct);

  /*Configure GPIO pins : C1_Pin PE8 C2_Pin C3_Pin
                           C4_Pin */
  GPIO_InitStruct.Pin = C1_Pin|GPIO_PIN_8|C2_Pin|C3_Pin
                          |C4_Pin;
  GPIO_InitStruct.Mode = GPIO_MODE_OUTPUT_PP;
  GPIO_InitStruct.Pull = GPIO_NOPULL;
  GPIO_InitStruct.Speed = GPIO_SPEED_FREQ_LOW;
  HAL_GPIO_Init(GPIOE, &GPIO_InitStruct);

  /*Configure GPIO pin : USER_Btn_Pin */
  GPIO_InitStruct.Pin = USER_Btn_Pin;
  GPIO_InitStruct.Mode = GPIO_MODE_IT_RISING;
  GPIO_InitStruct.Pull = GPIO_NOPULL;
  HAL_GPIO_Init(USER_Btn_GPIO_Port, &GPIO_InitStruct);

  /*Configure GPIO pin : TRIG_Pin */
  GPIO_InitStruct.Pin = TRIG_Pin;
  GPIO_InitStruct.Mode = GPIO_MODE_OUTPUT_PP;
  GPIO_InitStruct.Pull = GPIO_NOPULL;
  GPIO_InitStruct.Speed = GPIO_SPEED_FREQ_LOW;
  HAL_GPIO_Init(TRIG_GPIO_Port, &GPIO_InitStruct);

  /*Configure GPIO pin : ECHO_Pin */
  GPIO_InitStruct.Pin = ECHO_Pin;
  GPIO_InitStruct.Mode = GPIO_MODE_INPUT;
  GPIO_InitStruct.Pull = GPIO_NOPULL;
  HAL_GPIO_Init(ECHO_GPIO_Port, &GPIO_InitStruct);

  /*Configure GPIO pins : RMII_MDC_Pin RMII_RXD1_Pin */
  GPIO_InitStruct.Pin = RMII_MDC_Pin|RMII_RXD1_Pin;
  GPIO_InitStruct.Mode = GPIO_MODE_AF_PP;
  GPIO_InitStruct.Pull = GPIO_NOPULL;
  GPIO_InitStruct.Speed = GPIO_SPEED_FREQ_VERY_HIGH;
  GPIO_InitStruct.Alternate = GPIO_AF11_ETH;
  HAL_GPIO_Init(GPIOC, &GPIO_InitStruct);

  /*Configure GPIO pins : RMII_REF_CLK_Pin RMII_MDIO_Pin */
  GPIO_InitStruct.Pin = RMII_REF_CLK_Pin|RMII_MDIO_Pin;
  GPIO_InitStruct.Mode = GPIO_MODE_AF_PP;
  GPIO_InitStruct.Pull = GPIO_NOPULL;
  GPIO_InitStruct.Speed = GPIO_SPEED_FREQ_VERY_HIGH;
  GPIO_InitStruct.Alternate = GPIO_AF11_ETH;
  HAL_GPIO_Init(GPIOA, &GPIO_InitStruct);

  /*Configure GPIO pins : OUT_EN_Pin RCLK_Pin */
  GPIO_InitStruct.Pin = OUT_EN_Pin|RCLK_Pin;
  GPIO_InitStruct.Mode = GPIO_MODE_OUTPUT_PP;
  GPIO_InitStruct.Pull = GPIO_NOPULL;
  GPIO_InitStruct.Speed = GPIO_SPEED_FREQ_LOW;
  HAL_GPIO_Init(GPIOA, &GPIO_InitStruct);

  /*Configure GPIO pins : LD1_Pin PB2 LD3_Pin LD2_Pin */
  GPIO_InitStruct.Pin = LD1_Pin|GPIO_PIN_2|LD3_Pin|LD2_Pin;
  GPIO_InitStruct.Mode = GPIO_MODE_OUTPUT_PP;
  GPIO_InitStruct.Pull = GPIO_NOPULL;
  GPIO_InitStruct.Speed = GPIO_SPEED_FREQ_LOW;
  HAL_GPIO_Init(GPIOB, &GPIO_InitStruct);

  /*Configure GPIO pins : D2_Pin D3_Pin D1_Pin D4_Pin */
  GPIO_InitStruct.Pin = D2_Pin|D3_Pin|D1_Pin|D4_Pin;
  GPIO_InitStruct.Mode = GPIO_MODE_OUTPUT_OD;
  GPIO_InitStruct.Pull = GPIO_NOPULL;
  GPIO_InitStruct.Speed = GPIO_SPEED_FREQ_LOW;
  HAL_GPIO_Init(GPIOF, &GPIO_InitStruct);

  /*Configure GPIO pin : PB11 */
  GPIO_InitStruct.Pin = GPIO_PIN_11;
  GPIO_InitStruct.Mode = GPIO_MODE_IT_FALLING;
  GPIO_InitStruct.Pull = GPIO_NOPULL;
  HAL_GPIO_Init(GPIOB, &GPIO_InitStruct);

  /*Configure GPIO pin : RMII_TXD1_Pin */
  GPIO_InitStruct.Pin = RMII_TXD1_Pin;
  GPIO_InitStruct.Mode = GPIO_MODE_AF_PP;
  GPIO_InitStruct.Pull = GPIO_NOPULL;
  GPIO_InitStruct.Speed = GPIO_SPEED_FREQ_VERY_HIGH;
  GPIO_InitStruct.Alternate = GPIO_AF11_ETH;
  HAL_GPIO_Init(RMII_TXD1_GPIO_Port, &GPIO_InitStruct);

  /*Configure GPIO pin : SRCLR_Pin */
  GPIO_InitStruct.Pin = SRCLR_Pin;
  GPIO_InitStruct.Mode = GPIO_MODE_OUTPUT_PP;
  GPIO_InitStruct.Pull = GPIO_NOPULL;
  GPIO_InitStruct.Speed = GPIO_SPEED_FREQ_LOW;
  HAL_GPIO_Init(SRCLR_GPIO_Port, &GPIO_InitStruct);

  /*Configure GPIO pins : USB_PowerSwitchOn_Pin PG9 PG14 */
  GPIO_InitStruct.Pin = USB_PowerSwitchOn_Pin|GPIO_PIN_9|GPIO_PIN_14;
  GPIO_InitStruct.Mode = GPIO_MODE_OUTPUT_PP;
  GPIO_InitStruct.Pull = GPIO_NOPULL;
  GPIO_InitStruct.Speed = GPIO_SPEED_FREQ_LOW;
  HAL_GPIO_Init(GPIOG, &GPIO_InitStruct);

  /*Configure GPIO pin : USB_OverCurrent_Pin */
  GPIO_InitStruct.Pin = USB_OverCurrent_Pin;
  GPIO_InitStruct.Mode = GPIO_MODE_INPUT;
  GPIO_InitStruct.Pull = GPIO_NOPULL;
  HAL_GPIO_Init(USB_OverCurrent_GPIO_Port, &GPIO_InitStruct);

  /*Configure GPIO pins : RMII_TX_EN_Pin RMII_TXD0_Pin */
  GPIO_InitStruct.Pin = RMII_TX_EN_Pin|RMII_TXD0_Pin;
  GPIO_InitStruct.Mode = GPIO_MODE_AF_PP;
  GPIO_InitStruct.Pull = GPIO_NOPULL;
  GPIO_InitStruct.Speed = GPIO_SPEED_FREQ_VERY_HIGH;
  GPIO_InitStruct.Alternate = GPIO_AF11_ETH;
  HAL_GPIO_Init(GPIOG, &GPIO_InitStruct);

  /* EXTI interrupt init*/
  HAL_NVIC_SetPriority(EXTI15_10_IRQn, 0, 0);
  HAL_NVIC_EnableIRQ(EXTI15_10_IRQn);

}

void Error_Handler(void)
{
  __disable_irq();
  while (1)
  {
  }
}
